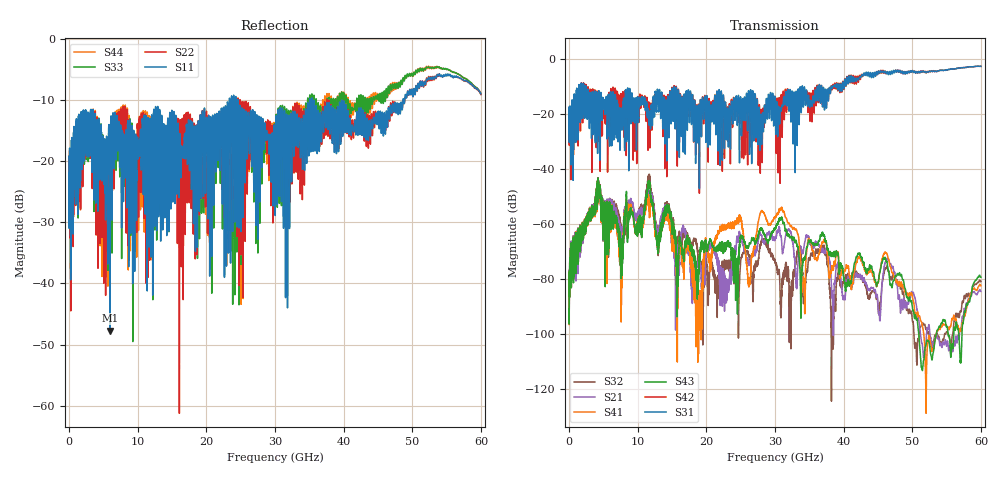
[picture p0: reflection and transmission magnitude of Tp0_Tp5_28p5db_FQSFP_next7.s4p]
!4 port subset of full cascaded channels using these ports:51 37 52 38
# Hz S RI R 50
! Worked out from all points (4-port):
!   6000 points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, 10 MHz to 60 GHz, reference 50 ohm
!   strongest paths, dB at 10 MHz, 15.01 GHz, 30.01 GHz, 45.01 GHz, 60 GHz:
!     S31: -20.0, -10.7, -14.7, -5.0, -2.7
!     S42: -20.0, -10.7, -13.8, -5.2, -2.7
!     S43: -90.9, -60.2, -62.0, -81.4, -79.4
!     S41: -91.0, -65.0, -57.6, -81.4, -82.5
!     S21: -90.5, -68.2, -65.4, -89.6, -84.6
!     S32: -90.3, -60.5, -73.7, -90.1, -80.9
!   lowest |S11| = -47.7 dB at 5.95 GHz (marker M1), VSWR 1.01, Z = 49.9 + j0.386 ohm
!   |S11| at or under -10 dB: start of sweep to 23.36 GHz; 24.61 GHz to 35.06 GHz (10.45 GHz wide, 35 % of centre); 35.42 GHz to 48.66 GHz (13.24 GHz wide, 31.5 % of centre)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
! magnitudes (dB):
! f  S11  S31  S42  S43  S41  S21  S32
! 10 MHz  -21.9  -20.0  -20.0  -90.9  -91.0  -90.5  -90.3
! 5.95 GHz  -47.7  -17.5  -24.5  -60.2  -57.8  -56.7  -59.0
! 11.62 GHz  -21.8  -22.4  -16.8  -46.0  -53.4  -51.2  -43.6
! 18.79 GHz  -14.5  -19.1  -18.6  -81.6  -85.1  -74.5  -71.1
! 30.85 GHz  -13.1  -18.1  -14.6  -58.6  -54.9  -64.5  -88.4
! 34.11 GHz  -14.1  -16.4  -12.6  -73.2  -80.5  -70.4  -86.5
! 60 GHz  -9.0  -2.7  -2.7  -79.4  -82.5  -84.6  -80.9
